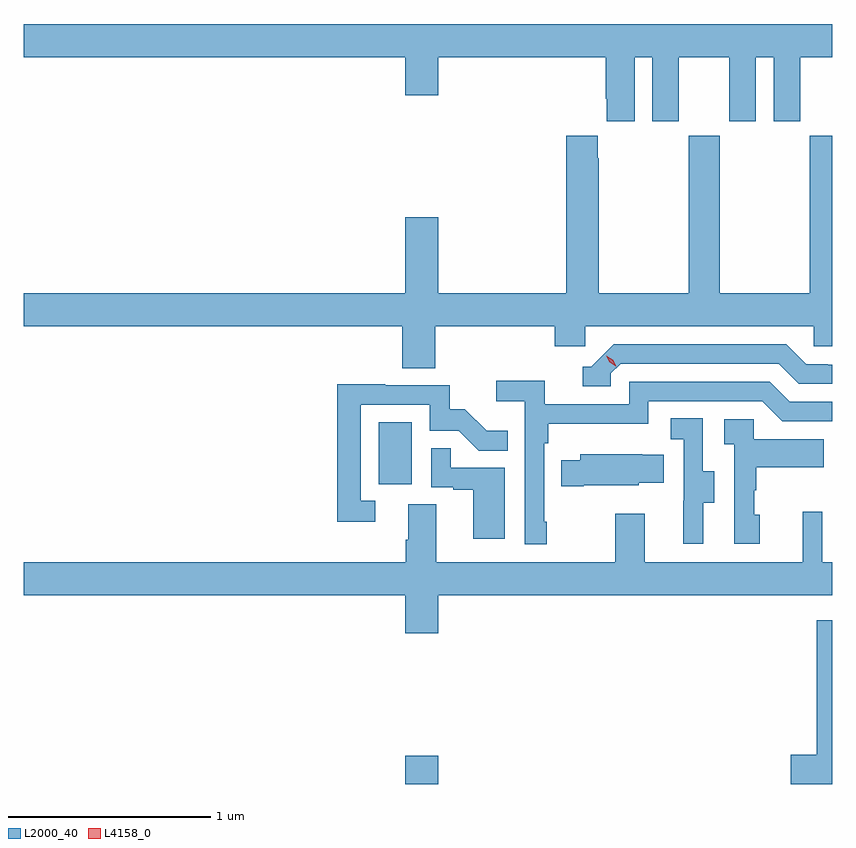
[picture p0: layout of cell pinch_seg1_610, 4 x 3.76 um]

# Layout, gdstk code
import gdstk
lib = gdstk.Library(unit=1e-6, precision=1e-09)
def R(c, l, rs):  # rectangles x0, y0, x1, y1
    for r in rs: c.add(gdstk.rectangle(r[:2], r[2:], *l))
def P(c, l, *ps):  # polygons
    for p in ps: c.add(gdstk.Polygon(p, *l))
L2000_40 = (2000, 40)
L4158_0 = (4158, 0)

pinch_seg1_610 = lib.new_cell('pinch_seg1_610')
R(pinch_seg1_610, L2000_40, [(1142.03,512.17,1142.194,512.311), (1141.898,513.654,1142.062,513.961)])
P(pinch_seg1_610, L2000_40, [(1143.166,515.768),(1143.254,515.768),(1143.254,515.451),(1143.385,515.451),(1143.385,515.768),(1143.635,515.768),(1143.635,515.451),(1143.766,515.451),(1143.766,515.768),(1143.854,515.768),(1143.854,515.451),(1143.985,515.451),(1143.985,515.768),(1144.143,515.768),(1144.143,515.932),(1140.143,515.932),(1140.143,515.768),(1142.03,515.768),(1142.03,515.58),(1142.194,515.58),(1142.194,515.768),(1143.023,515.768),(1143.023,515.563),(1143.029,515.563),(1143.029,515.451),(1143.166,515.451)],
  [(1142.18,514.436),(1142.771,514.436),(1142.771,514.338),(1142.922,514.338),(1142.922,514.436),(1144.053,514.436),(1144.053,514.338),(1144.143,514.338),(1144.143,515.38),(1144.033,515.38),(1144.033,514.6),(1143.588,514.6),(1143.588,515.38),(1143.433,515.38),(1143.433,514.6),(1142.988,514.6),(1142.988,515.267),(1142.983,515.267),(1142.983,515.38),(1142.828,515.38),(1142.828,514.6),(1142.194,514.6),(1142.194,514.975),(1142.03,514.975),(1142.03,514.6),(1140.143,514.6),(1140.143,514.436),(1142.015,514.436),(1142.015,514.228),(1142.18,514.228)],
  [(1143.048,514.203),(1143.096,514.251),(1143.879,514.251),(1143.978,514.152),(1144.143,514.152),(1144.143,514.245),(1144.122,514.245),(1144.122,514.248),(1144.015,514.248),(1143.916,514.347),(1143.063,514.347),(1142.952,514.236),(1142.909,514.236),(1142.909,514.14),(1143.048,514.14)],
  [(1142.731,513.469),(1142.718,513.469),(1142.718,513.857),(1142.738,513.857),(1142.738,513.953),(1143.234,513.953),(1143.234,514.065),(1143.798,514.065),(1143.897,513.966),(1144.143,513.966),(1144.143,514.062),(1143.934,514.062),(1143.835,514.161),(1143.138,514.161),(1143.138,514.05),(1142.72,514.05),(1142.72,514.166),(1142.481,514.166),(1142.481,514.064),(1142.622,514.064),(1142.622,513.357),(1142.731,513.357)],
  [(1141.882,513.573),(1141.809,513.573),(1141.809,514.047),(1142.151,514.047),(1142.151,513.918),(1142.295,513.918),(1142.393,513.82),(1142.537,513.82),(1142.537,513.919),(1142.433,513.919),(1142.326,514.026),(1142.25,514.026),(1142.25,514.143),(1141.931,514.143),(1141.931,514.148),(1141.693,514.148),(1141.693,513.468),(1141.882,513.468)],
  [(1143.505,513.562),(1143.559,513.562),(1143.559,513.717),(1143.504,513.717),(1143.504,513.98),(1143.345,513.98),(1143.345,513.877),(1143.408,513.877),(1143.408,513.573),(1143.407,513.573),(1143.407,513.36),(1143.505,513.36)],
  [(1143.784,513.504),(1143.759,513.504),(1143.759,513.623),(1143.769,513.623),(1143.769,513.737),(1144.103,513.737),(1144.103,513.877),(1143.756,513.877),(1143.756,513.975),(1143.609,513.975),(1143.609,513.851),(1143.66,513.851),(1143.66,513.36),(1143.784,513.36)],
  [(1142.524,513.735),(1142.255,513.735),(1142.255,513.833),(1142.16,513.833),(1142.16,513.639),(1142.267,513.639),(1142.267,513.627),(1142.366,513.627),(1142.366,513.384),(1142.524,513.384)],
  [(1142.914,513.65),(1143.186,513.65),(1143.186,513.662),(1143.311,513.662),(1143.311,513.799),(1143.203,513.799),(1143.203,513.802),(1142.897,513.802),(1142.897,513.772),(1142.803,513.772),(1142.803,513.643),(1142.914,513.643)],
  [(1142.194,513.104),(1144.143,513.104),(1144.143,513.268),(1144.095,513.268),(1144.095,513.517),(1143.998,513.517),(1143.998,513.268),(1143.217,513.268),(1143.217,513.508),(1143.07,513.508),(1143.07,513.268),(1142.185,513.268),(1142.185,513.554),(1142.045,513.554),(1142.045,513.38),(1142.033,513.38),(1142.033,513.268),(1140.143,513.268),(1140.143,513.104),(1142.03,513.104),(1142.03,512.916),(1142.194,512.916)],
  [(1144.143,512.98),(1144.068,512.98),(1144.068,512.314),(1143.938,512.314),(1143.938,512.17),(1144.143,512.17)])
P(pinch_seg1_610, L4158_0, [(1143.073,514.239),(1143.042,514.258),(1143.026,514.289),(1143.026,514.29),(1143.026,514.29),(1143.057,514.271),(1143.074,514.239),(1143.074,514.239)])

lib.write_gds('pinch_seg1_610.gds')
